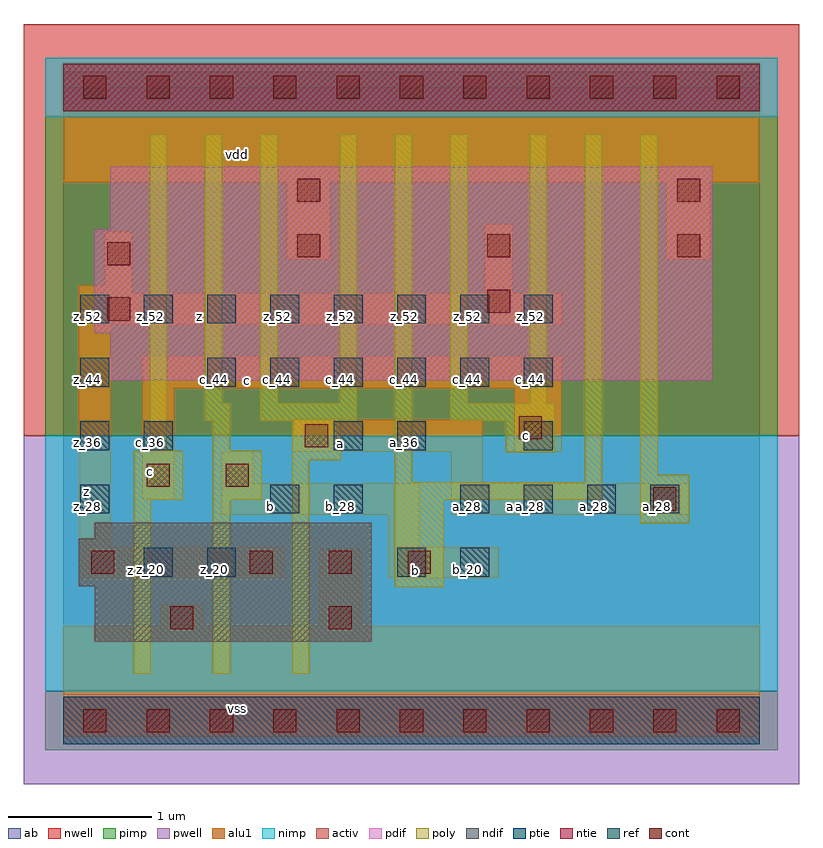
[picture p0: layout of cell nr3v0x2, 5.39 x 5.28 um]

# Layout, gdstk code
import gdstk
lib = gdstk.Library(unit=1e-6, precision=2.5e-09)
def R(c, l, rs):  # rectangles x0, y0, x1, y1
    for r in rs: c.add(gdstk.rectangle(r[:2], r[2:], *l))
def A(c, l, x, y, w, h, nx, ny, dx, dy):  # array of equal rectangles
    R(c, l, [(x+i*dx, y+j*dy, x+i*dx+w, y+j*dy+h) for i in range(nx) for j in range(ny)])
ndif = (3, 0)
pdif = (4, 0)
ntie = (5, 0)
ptie = (6, 0)
ref = (24, 0)
cont = (25, 0)
pwell = (41, 0)
nwell = (42, 0)
activ = (43, 0)
pimp = (44, 0)
nimp = (45, 0)
poly = (46, 0)
alu1 = (49, 0)
ab = (63, 0)

nr3v0x2 = lib.new_cell('nr3v0x2')
R(nr3v0x2, ndif, [(0.22,0.55,2.145,0.935), (0.11,0.935,2.145,1.265), (0.22,1.265,2.145,1.375)])
R(nr3v0x2, pdif, [(0.33,2.365,4.51,2.695), (0.22,2.695,4.51,3.41), (0.33,3.41,4.51,3.85)])
R(nr3v0x2, ntie, [(0,4.235,4.84,4.565)])
R(nr3v0x2, ptie, [(0,-0.165,4.84,0.165)])
A(nr3v0x2, ref, 0.12, 1.44, 0.2, 0.2, 1, 3, 0, 0.44)
A(nr3v0x2, ref, 2.76, 1.44, 0.2, 0.2, 4, 1, 0.44, 0)
A(nr3v0x2, ref, 1, 2.32, 0.2, 0.2, 6, 1, 0.44, 0)
A(nr3v0x2, ref, 0.12, 2.76, 0.2, 0.2, 8, 1, 0.44, 0)
R(nr3v0x2, ref, [(0.56,1,0.76,1.2), (1,1,1.2,1.2), (2.32,1,2.52,1.2), (2.76,1,2.96,1.2), (1.44,1.44,1.64,1.64), (1.88,1.44,2.08,1.64), (0.56,1.88,0.76,2.08), (1.88,1.88,2.08,2.08), (2.32,1.88,2.52,2.08), (3.2,1.88,3.4,2.08)])
A(nr3v0x2, cont, 0.14, -0.08, 0.16, 0.16, 11, 2, 0.44, 4.4)
A(nr3v0x2, cont, 1.295, 1.02, 0.16, 0.16, 3, 1, 0.55, 0)
A(nr3v0x2, cont, 1.625, 3.22, 0.16, 0.16, 3, 1, 1.32, 0)
R(nr3v0x2, cont, [(0.745,0.635,0.905,0.795), (1.845,0.635,2.005,0.795), (0.195,1.02,0.355,1.18), (4.1,1.46,4.26,1.62), (0.58,1.625,0.74,1.785), (1.13,1.625,1.29,1.785), (1.68,1.9,1.84,2.06), (3.165,1.955,3.325,2.115), (0.305,2.78,0.465,2.94), (2.945,2.835,3.105,2.995), (0.305,3.165,0.465,3.325), (1.625,3.605,1.785,3.765), (4.265,3.605,4.425,3.765)])
R(nr3v0x2, pwell, [(-0.275,-0.44,5.115,1.98)])
R(nr3v0x2, nwell, [(-0.275,1.98,5.115,4.84)])
R(nr3v0x2, activ, [(0,-0.165,4.84,0.165), (0.22,0.55,2.145,0.935), (0.11,0.935,2.145,1.265), (0.22,1.265,2.145,1.375), (0.33,2.365,4.51,2.695), (0.22,2.695,4.51,3.41), (0.33,3.41,4.51,3.85), (0,4.235,4.84,4.565)])
R(nr3v0x2, pimp, [(-0.125,-0.205,4.965,0.205), (-0.125,1.98,4.965,4.195)])
R(nr3v0x2, nimp, [(-0.125,0.205,4.965,1.98), (-0.125,4.195,4.965,4.605)])
R(nr3v0x2, poly, [(0.49,0.325,0.61,1.535), (1.04,0.325,1.16,1.535), (1.59,0.325,1.71,1.81), (2.305,0.93,2.645,1.535), (4.01,1.37,4.35,1.71), (0.49,1.535,0.83,1.875), (1.04,1.535,1.38,1.875), (2.305,1.535,3.745,1.655), (2.305,1.655,2.425,4.075), (3.625,1.655,3.745,4.075), (4.01,1.71,4.13,4.075), (1.59,1.81,1.93,2.085), (3.075,1.865,3.415,2.085), (0.6,1.875,0.72,4.075), (1.04,1.875,1.16,2.085), (0.985,2.085,1.16,2.205), (1.37,2.085,2.04,2.205), (2.69,2.085,3.415,2.205), (0.985,2.205,1.105,4.075), (1.37,2.205,1.49,4.075), (1.92,2.205,2.04,4.075), (2.69,2.205,2.81,4.075), (3.24,2.205,3.36,4.075)])
R(nr3v0x2, alu1, [(0,-0.11,4.84,0.66), (0.675,0.66,0.975,0.81), (1.775,0.66,2.075,1.195), (0.11,0.99,1.54,1.21), (2.255,0.99,3.025,1.21), (0.11,1.21,0.33,2.75), (2.255,1.21,2.475,1.43), (1.1,1.43,2.475,1.65), (2.695,1.43,4.345,1.65), (0.55,1.54,0.77,2.31), (1.1,1.65,1.32,1.87), (2.695,1.65,2.915,1.87), (1.595,1.87,2.915,2.09), (3.135,1.87,3.465,2.31), (0.55,2.31,3.465,2.53), (0.11,2.75,3.465,2.97), (0.11,2.97,0.48,3.025), (2.93,2.97,3.12,3.45), (0.29,3.025,0.48,3.395), (1.555,3.205,1.855,3.74), (4.195,3.205,4.495,3.74), (0,3.74,4.84,4.51)])
R(nr3v0x2, ab, [(0,0,4.84,4.4)])
nr3v0x2.add(gdstk.Label('vss', (1.21,0.0825), layer=49, texttype=0))
nr3v0x2.add(gdstk.Label('b', (2.4475,1.045), layer=49, texttype=0))
nr3v0x2.add(gdstk.Label('z', (0.4675,1.045), layer=49, texttype=0))
nr3v0x2.add(gdstk.Label('a', (3.1075,1.485), layer=49, texttype=0))
nr3v0x2.add(gdstk.Label('b', (1.4425,1.485), layer=49, texttype=0))
nr3v0x2.add(gdstk.Label('c', (3.2175,1.98), layer=49, texttype=0))
nr3v0x2.add(gdstk.Label('a', (1.925,1.925), layer=49, texttype=0))
nr3v0x2.add(gdstk.Label('c', (0.605,1.7325), layer=49, texttype=0))
nr3v0x2.add(gdstk.Label('c', (1.2775,2.365), layer=49, texttype=0))
nr3v0x2.add(gdstk.Label('z', (0.165,1.595), layer=49, texttype=0))
nr3v0x2.add(gdstk.Label('z', (0.9475,2.805), layer=49, texttype=0))
nr3v0x2.add(gdstk.Label('vdd', (1.21,3.9325), layer=49, texttype=0))
nr3v0x2.add(gdstk.Label('z_20', (0.61,1.05), layer=24, texttype=0))
nr3v0x2.add(gdstk.Label('c_36', (0.61,1.93), layer=24, texttype=0))
nr3v0x2.add(gdstk.Label('z_52', (0.61,2.81), layer=24, texttype=0))
nr3v0x2.add(gdstk.Label('z_20', (1.05,1.05), layer=24, texttype=0))
nr3v0x2.add(gdstk.Label('c_44', (1.05,2.37), layer=24, texttype=0))
nr3v0x2.add(gdstk.Label('z_52', (1.05,2.81), layer=24, texttype=0))
nr3v0x2.add(gdstk.Label('b_28', (1.49,1.49), layer=24, texttype=0))
nr3v0x2.add(gdstk.Label('c_44', (1.49,2.37), layer=24, texttype=0))
nr3v0x2.add(gdstk.Label('z_52', (1.49,2.81), layer=24, texttype=0))
nr3v0x2.add(gdstk.Label('b_28', (1.93,1.49), layer=24, texttype=0))
nr3v0x2.add(gdstk.Label('a_36', (1.93,1.93), layer=24, texttype=0))
nr3v0x2.add(gdstk.Label('c_44', (1.93,2.37), layer=24, texttype=0))
nr3v0x2.add(gdstk.Label('z_52', (1.93,2.81), layer=24, texttype=0))
nr3v0x2.add(gdstk.Label('z_28', (0.17,1.49), layer=24, texttype=0))
nr3v0x2.add(gdstk.Label('z_36', (0.17,1.93), layer=24, texttype=0))
nr3v0x2.add(gdstk.Label('z_44', (0.17,2.37), layer=24, texttype=0))
nr3v0x2.add(gdstk.Label('z_52', (0.17,2.81), layer=24, texttype=0))
nr3v0x2.add(gdstk.Label('b_20', (2.37,1.05), layer=24, texttype=0))
nr3v0x2.add(gdstk.Label('a_36', (2.37,1.93), layer=24, texttype=0))
nr3v0x2.add(gdstk.Label('c_44', (2.37,2.37), layer=24, texttype=0))
nr3v0x2.add(gdstk.Label('z_52', (2.37,2.81), layer=24, texttype=0))
nr3v0x2.add(gdstk.Label('b_20', (2.81,1.05), layer=24, texttype=0))
nr3v0x2.add(gdstk.Label('a_28', (2.81,1.49), layer=24, texttype=0))
nr3v0x2.add(gdstk.Label('c_44', (2.81,2.37), layer=24, texttype=0))
nr3v0x2.add(gdstk.Label('z_52', (2.81,2.81), layer=24, texttype=0))
nr3v0x2.add(gdstk.Label('a_28', (3.25,1.49), layer=24, texttype=0))
nr3v0x2.add(gdstk.Label('c_36', (3.25,1.93), layer=24, texttype=0))
nr3v0x2.add(gdstk.Label('c_44', (3.25,2.37), layer=24, texttype=0))
nr3v0x2.add(gdstk.Label('z_52', (3.25,2.81), layer=24, texttype=0))
nr3v0x2.add(gdstk.Label('a_28', (3.69,1.49), layer=24, texttype=0))
nr3v0x2.add(gdstk.Label('a_28', (4.13,1.49), layer=24, texttype=0))

lib.write_gds('nr3v0x2.gds')
